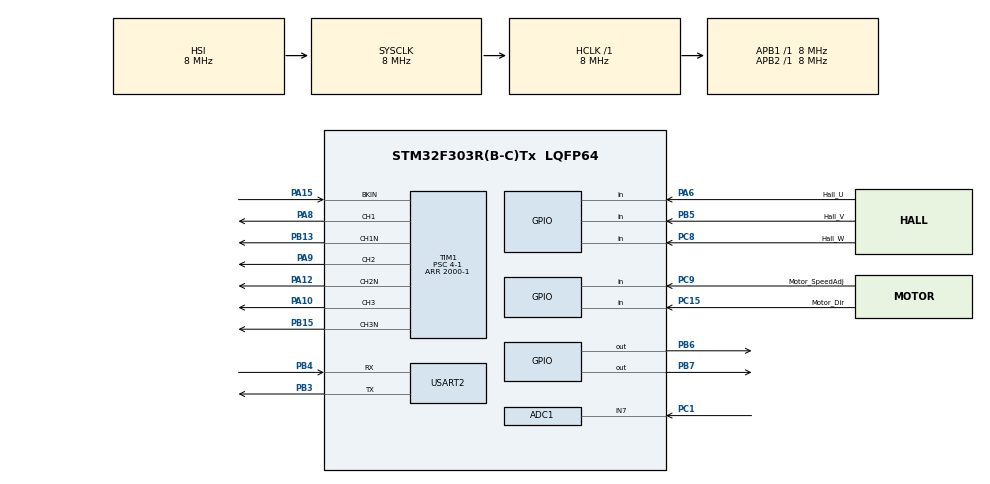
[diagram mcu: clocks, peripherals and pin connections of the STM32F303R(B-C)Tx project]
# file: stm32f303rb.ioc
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Mcu.Family=STM32F3
NVIC.ADC1_2_IRQn=true\:0\:0\:false\:false\:true\:true\:true
RCC.CortexFreq_Value=8000000
TIM1.OCIdleState_2=TIM_OCIDLESTATE_RESET
ADC1.Overrun=ADC_OVR_DATA_PRESERVED
ADC1.ContinuousConvMode=DISABLE
PA10.GPIO_PuPd=GPIO_PULLUP
TIM1.Break2State=TIM_BREAK2_ENABLE
PA6.GPIO_Label=Hall_U
PB15.Signal=TIM1_CH3N
PB13.Signal=TIM1_CH1N
PC15-OSC32_OUT.GPIO_Label=Motor_Dir
PB3.GPIO_Speed=GPIO_SPEED_FREQ_HIGH
ProjectManager.StackSize=0x400
TIM1.Pulse-PWM\ Generation2\ CH2\ CH2N=0
PA12.Signal=TIM1_CH2N
TIM1.Prescaler=4-1
ADC1.Offset-0\#ChannelRegularConversion=0
PB6.Signal=GPIO_Output
TIM1.AutomaticOutput=TIM_AUTOMATICOUTPUT_ENABLE
RCC.AHBFreq_Value=8000000
ADC1.Channel-0\#ChannelRegularConversion=ADC_CHANNEL_7
RCC.HSE_VALUE=8000000
PB3.Mode=Asynchronous
TIM1.LockLevel=TIM_LOCKLEVEL_1
USART2.VirtualMode-Asynchronous=VM_ASYNC
PA15.Mode=Activate-Break-Input
PB3.GPIO_PuPd=GPIO_NOPULL
PB4.Mode=Asynchronous
TIM1.DeadTime=20
TIM1.OCMode_PWM-PWM\ Generation1\ CH1\ CH1N=TIM_OCMODE_PWM2
PB7.Signal=GPIO_Output
PA8.Signal=S_TIM1_CH1
VP_TIM1_VS_ClockSourceINT.Mode=Internal
ADC1.SamplingTime-0\#ChannelRegularConversion=ADC_SAMPLETIME_1CYCLE_5
Mcu.Package=LQFP64
PA6.Signal=GPIO_Input
ADC1.EnableInjectedConversion=DISABLE
PB15.GPIO_PuPd=GPIO_PULLUP
TIM1.OCMode_PWM-PWM\ Generation3\ CH3\ CH3N=TIM_OCMODE_PWM2
PA10.Signal=S_TIM1_CH3
PA15.Signal=TIM1_BKIN
USART2.WordLength=WORDLENGTH_9B
PA10.GPIO_Speed=GPIO_SPEED_FREQ_HIGH
PB5.GPIO_Label=Hall_V
TIM1.OCMode_PWM-PWM\ Generation2\ CH2\ CH2N=TIM_OCMODE_PWM2
TIM1.Period=2000-1
PB13.Mode=PWM Generation1 CH1 CH1N
PA12.GPIO_PuPd=GPIO_PULLUP
PA12.GPIO_Speed=GPIO_SPEED_FREQ_HIGH
PB4.Signal=USART2_RX
PB7.GPIO_PuPd=GPIO_PULLUP
TIM1.OCPolarity_3=TIM_OCPOLARITY_HIGH
TIM1.OCPolarity_2=TIM_OCPOLARITY_HIGH
ADC1.Rank-0\#ChannelRegularConversion=1
TIM1.OffStateIDLEMode=TIM_OSSI_ENABLE
PC9.GPIO_Label=Motor_SpeedAdj
TIM1.CounterMode=TIM_COUNTERMODE_CENTERALIGNED1
ADC1.OffsetNumber-0\#ChannelRegularConversion=ADC_OFFSET_NONE
PB6.GPIO_PuPd=GPIO_PULLUP
PC8.Signal=GPIO_Input
TIM1.Channel-PWM\ Generation1\ CH1\ CH1N=TIM_CHANNEL_1
PA9.GPIO_PuPd=GPIO_PULLUP
NVIC.USART2_IRQn=true\:0\:0\:false\:false\:true\:true\:true
PC8.GPIO_Label=Hall_W
TIM1.AutoReloadPreload=TIM_AUTORELOAD_PRELOAD_ENABLE
TIM1.Channel-PWM\ Generation2\ CH2\ CH2N=TIM_CHANNEL_2
SH.S_TIM1_CH1.0=TIM1_CH1,PWM Generation1 CH1 CH1N
ProjectManager.TargetToolchain=STM32CubeIDE
SH.ADCx_IN7.0=ADC1_IN7,IN7-Single-Ended
PA9.Signal=S_TIM1_CH2
TIM1.Channel-PWM\ Generation3\ CH3\ CH3N=TIM_CHANNEL_3
RCC.LSE_VALUE=32768
PC15-OSC32_OUT.Signal=GPIO_Input
board=custom
PB3.GPIO_ModeDefaultPP=GPIO_MODE_AF_PP
PB15.Mode=PWM Generation3 CH3 CH3N
TIM1.OCNIdleState_2=TIM_OCNIDLESTATE_RESET
VP_TIM1_VS_no_output4.Mode=PWM Generation4 No Output
TIM1.Pulse-PWM\ Generation4\ No\ Output=2000-2
TIM1.TIM_MasterOutputTrigger=TIM_TRGO_OC4REF
RCC.APB2Freq_Value=8000000
TIM1.OCNPolarity_3=TIM_OCNPOLARITY_HIGH
TIM1.OCNPolarity_2=TIM_OCNPOLARITY_HIGH
SH.S_TIM1_CH2.0=TIM1_CH2,PWM Generation2 CH2 CH2N
PB15.GPIO_Speed=GPIO_SPEED_FREQ_HIGH
TIM1.OffStateRunMode=TIM_OSSR_ENABLE
TIM1.Channel-PWM\ Generation4\ No\ Output=TIM_CHANNEL_4
Mcu.Name=STM32F303R(B-C)Tx
TIM1.Pulse-PWM\ Generation3\ CH3\ CH3N=0
ADC1.ExternalTrigConv=ADC_EXTERNALTRIGCONV_T1_TRGO
PB3.Signal=USART2_TX
RCC.SYSCLKFreq_VALUE=8000000
PB5.Signal=GPIO_Input
ADC1.master=1
PA12.Mode=PWM Generation2 CH2 CH2N
TIM1.Break2Filter=10
ProjectManager.HeapSize=0x200
SH.S_TIM1_CH3.0=TIM1_CH3,PWM Generation3 CH3 CH3N
RCC.HSI_VALUE=8000000
NVIC.PriorityGroup=NVIC_PRIORITYGROUP_4
ADC1.NbrOfConversionFlag=1
PA9.GPIO_Speed=GPIO_SPEED_FREQ_HIGH
PC9.Signal=GPIO_Input
RCC.APB1Freq_Value=8000000
ADC1.ClockPrescaler=ADC_CLOCK_SYNC_PCLK_DIV1
PC1.Signal=ADCx_IN7
TIM1.TIM_MasterSlaveMode=TIM_MASTERSLAVEMODE_ENABLE

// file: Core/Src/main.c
/* USER CODE BEGIN Header */
/**
  ******************************************************************************
  * @file           : main.c
  * @brief          : Main program body
  ******************************************************************************
  * @attention
  *
  * <h2><center>&copy; Copyright (c) 2021 STMicroelectronics.
  * All rights reserved.</center></h2>
  *
  * This software component is licensed by ST under BSD 3-Clause license,
  * the "License"; You may not use this file except in compliance with the
  * License. You may obtain a copy of the License at:
  *                        opensource.org/licenses/BSD-3-Clause
  *
  ******************************************************************************
  */

#include <stdio.h>
#include "motor.h"
#include "adc.h"
/* USER CODE END Header */
#include "main.h"

ADC_HandleTypeDef hadc1;

TIM_HandleTypeDef htim1;

UART_HandleTypeDef huart2;

void SystemClock_Config(void);
static void MX_GPIO_Init(void);
static void MX_USART2_UART_Init(void);
static void MX_TIM1_Init(void);
static void MX_ADC1_Init(void);

/* USER CODE BEGIN 0 */

#define PUTCHAR_PROTOTYPE int __io_putchar(int ch)

PUTCHAR_PROTOTYPE
{

  HAL_UART_Transmit(&huart2, (uint8_t*)&ch, 1, HAL_MAX_DELAY);
  return ch;
}

void MX_PWM1_Start(void)
{
	HAL_TIM_PWM_Start(&htim1, TIM_CHANNEL_1);
	HAL_TIM_PWM_Start(&htim1, TIM_CHANNEL_2);
	HAL_TIM_PWM_Start(&htim1, TIM_CHANNEL_3);
}

void delay_ms(unsigned short nms)
{
 unsigned int temp;
 SysTick->LOAD = 9000*nms;
 SysTick->VAL=0X00;//清空计数�????????????????????????????????????????????????->
 SysTick->CTRL=0X01;//使能，减到零是无动作，采用外部时钟源
 do
 {
  temp=SysTick->CTRL;//读取当前倒计数�??
 }while((temp&0x01)&&(!(temp&(1<<16))));//等待时间到达
    SysTick->CTRL=0x00; //关闭计数�????????????????????????????????????????????????
    SysTick->VAL =0X00; //清空计数�????????????????????????????????????????????????
}

unsigned short PwmModeCheck(TIM_HandleTypeDef *htim)
{
	unsigned short oc1Mode, oc2Mode, oc3Mode;

	oc1Mode = (htim->Instance->CCMR1 & TIM_CCMR1_OC1M);
	oc2Mode = (htim->Instance->CCMR1 & TIM_CCMR1_OC2M) >> 8;
	oc3Mode = htim->Instance->CCMR2 & TIM_CCMR2_OC3M;
	if ((oc1Mode != oc2Mode) || (oc1Mode != oc3Mode)) {
		printf("TIMx PWM Mode not equal\r\n");
		return -1;
	}
	return oc1Mode;
}

void deadLoop(void)
{
	while(1) {
		;
	}
}

/* USER CODE END 0 */

int main(void)
{
  /* USER CODE BEGIN 1 */
  unsigned short channelPluse;
  unsigned short adcValue;
  unsigned int cnt = 0;
  unsigned short pwmMode;
  /* USER CODE END 1 */

  /* MCU Configuration--------------------------------------------------------*/

  /* Reset of all peripherals, Initializes the Flash interface and the Systick. */
  HAL_Init();

  /* Configure the system clock */
  SystemClock_Config();

  /* Initialize all configured peripherals */
  MX_GPIO_Init();
  MX_USART2_UART_Init();
  MX_TIM1_Init();
  MX_ADC1_Init();
  /* USER CODE BEGIN 2 */
  pwmMode = PwmModeCheck(&htim1);
  if (0xFFFF == pwmMode) {
  	deadLoop();
  }
  MX_PWM1_Start();

  SetBldcmPeriod(htim1.Init.Period);
  SetBldcmPwmMode(pwmMode);
  channelPluse = (htim1.Init.Period - 100) / 10;
  BldcmSetSpeed(channelPluse);
  //BldcmEnable(&htim3, &htim1);
  SetBldcmDirection(MOTOR_FWD);

  MotorAInit(&htim1, &hadc1);

  /* USER CODE END 2 */

  /* Infinite loop */
  /* USER CODE BEGIN WHILE */
  while (1)
  {
	MotorCfg();
	//HAL_TIM_TriggerCallback(&htim1);
//	printf("cnt=%d\r\n", htim1.Instance->CNT);
    /* USER CODE END WHILE */

  }
}

void SystemClock_Config(void)
{
  RCC_OscInitTypeDef RCC_OscInitStruct = {0};
  RCC_ClkInitTypeDef RCC_ClkInitStruct = {0};
  RCC_PeriphCLKInitTypeDef PeriphClkInit = {0};

  /** Initializes the RCC Oscillators according to the specified parameters
  * in the RCC_OscInitTypeDef structure.
  */
  RCC_OscInitStruct.OscillatorType = RCC_OSCILLATORTYPE_HSI;
  RCC_OscInitStruct.HSIState = RCC_HSI_ON;
  RCC_OscInitStruct.HSICalibrationValue = RCC_HSICALIBRATION_DEFAULT;
  RCC_OscInitStruct.PLL.PLLState = RCC_PLL_NONE;
  if (HAL_RCC_OscConfig(&RCC_OscInitStruct) != HAL_OK)
  {
    Error_Handler();
  }
  /** Initializes the CPU, AHB and APB buses clocks
  */
  RCC_ClkInitStruct.ClockType = RCC_CLOCKTYPE_HCLK|RCC_CLOCKTYPE_SYSCLK
                              |RCC_CLOCKTYPE_PCLK1|RCC_CLOCKTYPE_PCLK2;
  RCC_ClkInitStruct.SYSCLKSource = RCC_SYSCLKSOURCE_HSI;
  RCC_ClkInitStruct.AHBCLKDivider = RCC_SYSCLK_DIV1;
  RCC_ClkInitStruct.APB1CLKDivider = RCC_HCLK_DIV1;
  RCC_ClkInitStruct.APB2CLKDivider = RCC_HCLK_DIV1;

  if (HAL_RCC_ClockConfig(&RCC_ClkInitStruct, FLASH_LATENCY_0) != HAL_OK)
  {
    Error_Handler();
  }
  PeriphClkInit.PeriphClockSelection = RCC_PERIPHCLK_USART2|RCC_PERIPHCLK_TIM1;
  PeriphClkInit.Usart2ClockSelection = RCC_USART2CLKSOURCE_PCLK1;
  PeriphClkInit.Tim1ClockSelection = RCC_TIM1CLK_HCLK;
  if (HAL_RCCEx_PeriphCLKConfig(&PeriphClkInit) != HAL_OK)
  {
    Error_Handler();
  }
}

static void MX_ADC1_Init(void)
{

  ADC_MultiModeTypeDef multimode = {0};
  ADC_ChannelConfTypeDef sConfig = {0};

  /** Common config
  */
  hadc1.Instance = ADC1;
  hadc1.Init.ClockPrescaler = ADC_CLOCK_SYNC_PCLK_DIV1;
  hadc1.Init.Resolution = ADC_RESOLUTION_12B;
  hadc1.Init.ScanConvMode = ADC_SCAN_DISABLE;
  hadc1.Init.ContinuousConvMode = DISABLE;
  hadc1.Init.DiscontinuousConvMode = DISABLE;
  hadc1.Init.ExternalTrigConvEdge = ADC_EXTERNALTRIGCONVEDGE_RISING;
  hadc1.Init.ExternalTrigConv = ADC_EXTERNALTRIGCONV_T1_TRGO;
  hadc1.Init.DataAlign = ADC_DATAALIGN_RIGHT;
  hadc1.Init.NbrOfConversion = 1;
  hadc1.Init.DMAContinuousRequests = DISABLE;
  hadc1.Init.EOCSelection = ADC_EOC_SINGLE_CONV;
  hadc1.Init.LowPowerAutoWait = DISABLE;
  hadc1.Init.Overrun = ADC_OVR_DATA_PRESERVED;
  if (HAL_ADC_Init(&hadc1) != HAL_OK)
  {
    Error_Handler();
  }
  /** Configure the ADC multi-mode
  */
  multimode.Mode = ADC_MODE_INDEPENDENT;
  if (HAL_ADCEx_MultiModeConfigChannel(&hadc1, &multimode) != HAL_OK)
  {
    Error_Handler();
  }
  /** Configure Regular Channel
  */
  sConfig.Channel = ADC_CHANNEL_7;
  sConfig.Rank = ADC_REGULAR_RANK_1;
  sConfig.SingleDiff = ADC_SINGLE_ENDED;
  sConfig.SamplingTime = ADC_SAMPLETIME_1CYCLE_5;
  sConfig.OffsetNumber = ADC_OFFSET_NONE;
  sConfig.Offset = 0;
  if (HAL_ADC_ConfigChannel(&hadc1, &sConfig) != HAL_OK)
  {
    Error_Handler();
  }

}

static void MX_TIM1_Init(void)
{

  TIM_ClockConfigTypeDef sClockSourceConfig = {0};
  TIM_MasterConfigTypeDef sMasterConfig = {0};
  TIM_OC_InitTypeDef sConfigOC = {0};
  TIM_BreakDeadTimeConfigTypeDef sBreakDeadTimeConfig = {0};

  htim1.Instance = TIM1;
  htim1.Init.Prescaler = 4-1;
  htim1.Init.CounterMode = TIM_COUNTERMODE_CENTERALIGNED1;
  htim1.Init.Period = 2000-1;
  htim1.Init.ClockDivision = TIM_CLOCKDIVISION_DIV1;
  htim1.Init.RepetitionCounter = 0;
  htim1.Init.AutoReloadPreload = TIM_AUTORELOAD_PRELOAD_ENABLE;
  if (HAL_TIM_Base_Init(&htim1) != HAL_OK)
  {
    Error_Handler();
  }
  sClockSourceConfig.ClockSource = TIM_CLOCKSOURCE_INTERNAL;
  if (HAL_TIM_ConfigClockSource(&htim1, &sClockSourceConfig) != HAL_OK)
  {
    Error_Handler();
  }
  if (HAL_TIM_PWM_Init(&htim1) != HAL_OK)
  {
    Error_Handler();
  }
  sMasterConfig.MasterOutputTrigger = TIM_TRGO_OC4REF;
  sMasterConfig.MasterOutputTrigger2 = TIM_TRGO2_RESET;
  sMasterConfig.MasterSlaveMode = TIM_MASTERSLAVEMODE_ENABLE;
  if (HAL_TIMEx_MasterConfigSynchronization(&htim1, &sMasterConfig) != HAL_OK)
  {
    Error_Handler();
  }
  sConfigOC.OCMode = TIM_OCMODE_PWM2;
  sConfigOC.Pulse = 0;
  sConfigOC.OCPolarity = TIM_OCPOLARITY_HIGH;
  sConfigOC.OCNPolarity = TIM_OCNPOLARITY_HIGH;
  sConfigOC.OCFastMode = TIM_OCFAST_DISABLE;
  sConfigOC.OCIdleState = TIM_OCIDLESTATE_RESET;
  sConfigOC.OCNIdleState = TIM_OCNIDLESTATE_RESET;
  if (HAL_TIM_PWM_ConfigChannel(&htim1, &sConfigOC, TIM_CHANNEL_1) != HAL_OK)
  {
    Error_Handler();
  }
  if (HAL_TIM_PWM_ConfigChannel(&htim1, &sConfigOC, TIM_CHANNEL_2) != HAL_OK)
  {
    Error_Handler();
  }
  if (HAL_TIM_PWM_ConfigChannel(&htim1, &sConfigOC, TIM_CHANNEL_3) != HAL_OK)
  {
    Error_Handler();
  }
  sConfigOC.OCMode = TIM_OCMODE_PWM1;
  sConfigOC.Pulse = 2000-2;
  if (HAL_TIM_PWM_ConfigChannel(&htim1, &sConfigOC, TIM_CHANNEL_4) != HAL_OK)
  {
    Error_Handler();
  }
  sBreakDeadTimeConfig.OffStateRunMode = TIM_OSSR_ENABLE;
  sBreakDeadTimeConfig.OffStateIDLEMode = TIM_OSSI_ENABLE;
  sBreakDeadTimeConfig.LockLevel = TIM_LOCKLEVEL_1;
  sBreakDeadTimeConfig.DeadTime = 20;
  sBreakDeadTimeConfig.BreakState = TIM_BREAK_ENABLE;
  sBreakDeadTimeConfig.BreakPolarity = TIM_BREAKPOLARITY_HIGH;
  sBreakDeadTimeConfig.BreakFilter = 0;
  sBreakDeadTimeConfig.Break2State = TIM_BREAK2_ENABLE;
  sBreakDeadTimeConfig.Break2Polarity = TIM_BREAK2POLARITY_HIGH;
  sBreakDeadTimeConfig.Break2Filter = 10;
  sBreakDeadTimeConfig.AutomaticOutput = TIM_AUTOMATICOUTPUT_ENABLE;
  if (HAL_TIMEx_ConfigBreakDeadTime(&htim1, &sBreakDeadTimeConfig) != HAL_OK)
  {
    Error_Handler();
  }
  /* USER CODE BEGIN TIM1_Init 2 */

  //从定时器配置了触发源为ITR2，根据STM32 F3xx中文参�?�手册，可以看到TIMx内部触发连接�???????????????????????? TIM1的ITR2输入为TIM3
  HAL_TIMEx_ConfigCommutEvent_IT(&htim1, TIM_TS_ITR2, TIM_COMMUTATION_SOFTWARE);
  /* USER CODE END TIM1_Init 2 */
  HAL_TIM_MspPostInit(&htim1);

}

static void MX_USART2_UART_Init(void)
{

  huart2.Instance = USART2;
  huart2.Init.BaudRate = 38400;
  huart2.Init.WordLength = UART_WORDLENGTH_9B;
  huart2.Init.StopBits = UART_STOPBITS_1;
  huart2.Init.Parity = UART_PARITY_NONE;
  huart2.Init.Mode = UART_MODE_TX_RX;
  huart2.Init.HwFlowCtl = UART_HWCONTROL_NONE;
  huart2.Init.OverSampling = UART_OVERSAMPLING_16;
  huart2.Init.OneBitSampling = UART_ONE_BIT_SAMPLE_DISABLE;
  huart2.AdvancedInit.AdvFeatureInit = UART_ADVFEATURE_NO_INIT;
  if (HAL_UART_Init(&huart2) != HAL_OK)
  {
    Error_Handler();
  }

}

static void MX_GPIO_Init(void)
{
  GPIO_InitTypeDef GPIO_InitStruct = {0};

  /* GPIO Ports Clock Enable */
  __HAL_RCC_GPIOC_CLK_ENABLE();
  __HAL_RCC_GPIOA_CLK_ENABLE();
  __HAL_RCC_GPIOB_CLK_ENABLE();

  /*Configure GPIO pin Output Level */
  HAL_GPIO_WritePin(GPIOB, GPIO_PIN_6|GPIO_PIN_7, GPIO_PIN_RESET);

  /*Configure GPIO pins : Motor_Dir_Pin Hall_W_Pin Motor_SpeedAdj_Pin */
  GPIO_InitStruct.Pin = Motor_Dir_Pin|Hall_W_Pin|Motor_SpeedAdj_Pin;
  GPIO_InitStruct.Mode = GPIO_MODE_INPUT;
  GPIO_InitStruct.Pull = GPIO_NOPULL;
  HAL_GPIO_Init(GPIOC, &GPIO_InitStruct);

  /*Configure GPIO pin : Hall_U_Pin */
  GPIO_InitStruct.Pin = Hall_U_Pin;
  GPIO_InitStruct.Mode = GPIO_MODE_INPUT;
  GPIO_InitStruct.Pull = GPIO_NOPULL;
  HAL_GPIO_Init(Hall_U_GPIO_Port, &GPIO_InitStruct);

  /*Configure GPIO pin : Hall_V_Pin */
  GPIO_InitStruct.Pin = Hall_V_Pin;
  GPIO_InitStruct.Mode = GPIO_MODE_INPUT;
  GPIO_InitStruct.Pull = GPIO_NOPULL;
  HAL_GPIO_Init(Hall_V_GPIO_Port, &GPIO_InitStruct);

  /*Configure GPIO pins : PB6 PB7 */
  GPIO_InitStruct.Pin = GPIO_PIN_6|GPIO_PIN_7;
  GPIO_InitStruct.Mode = GPIO_MODE_OUTPUT_PP;
  GPIO_InitStruct.Pull = GPIO_PULLUP;
  GPIO_InitStruct.Speed = GPIO_SPEED_FREQ_LOW;
  HAL_GPIO_Init(GPIOB, &GPIO_InitStruct);

}

void Error_Handler(void)
{
  __disable_irq();
  while (1)
  {
  }
}

/************************ (C) COPYRIGHT STMicroelectronics *****END OF FILE****/
